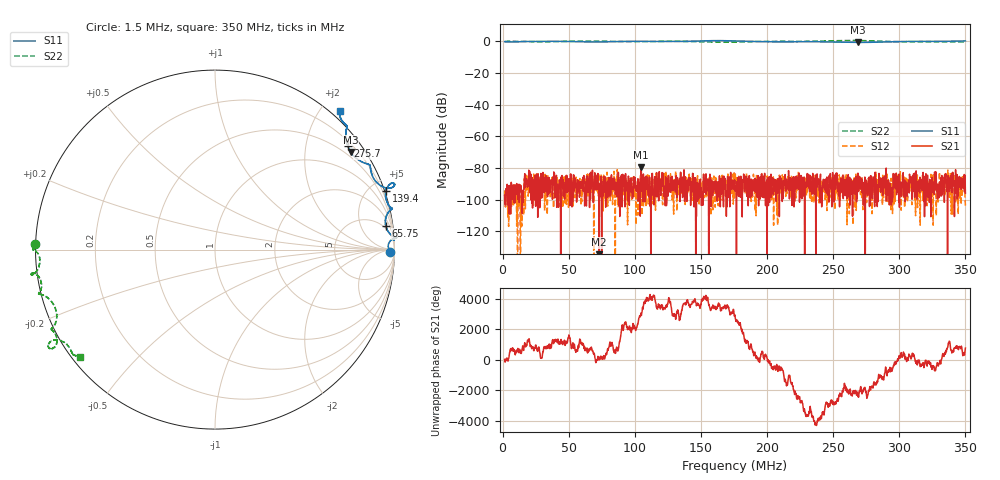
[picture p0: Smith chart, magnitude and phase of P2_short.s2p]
# Hz S RI R 50
! RAW DATA - UNCALIBRATED
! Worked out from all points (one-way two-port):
!   1601 points, 1.5 MHz to 350 MHz, reference 50 ohm
!   highest |S21| = -79.56 dB at 104.7 MHz (marker M1); lowest = -186.3 dB at 72.94 MHz (marker M2)
!   lowest |S11| = -0.6 dB at 269 MHz (marker M3), VSWR 27.97, Z = 18.7 + j153 ohm
!   |S11| at or under -10 dB: nowhere
!   |S22| runs from -0.5 to 0.6 dB; largest |S21 - S12| = 0.00014
!   S11 on the Smith chart (normalised r, x): 1.5 MHz: 65, -40; 65.75 MHz: 4, +13; 139.4 MHz: -0.14, +5.99; 275.7 MHz: 0.30, +2.88; 350 MHz: -0.12, +2.24
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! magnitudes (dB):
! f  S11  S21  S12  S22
! 1.5 MHz  -0.2  -97.1  -94.1  0.0
! 8.47 MHz  -0.3  -101.9  -102.7  0.1
! 24.37 MHz  0.0  -87.7  -94.2  -0.2
! 38.09 MHz  0.1  -87.9  -89.4  -0.1
! 59.66 MHz  -0.3  -92.6  -88.1  0.3
! 65.75 MHz  -0.3  -104.9  -89.6  0.3
! 72.94 MHz  -0.3  -186.3  -89.5  0.2
! 91.89 MHz  0.0  -84.6  -95.5  -0.1
! 104.7 MHz  0.1  -79.6  -101.8  -0.1
! 117.8 MHz  0.0  -96.3  -95.6  0.1
! 139.4 MHz  0.1  -101.1  -96.0  0.0
! 161.2 MHz  0.5  -95.4  -86.0  -0.4
! 175.8 MHz  0.4  -93.3  -88.9  -0.4
! 201.9 MHz  -0.2  -101.7  -90.1  0.1
! 233.9 MHz  -0.2  -96.6  -101.3  0.1
! 258.3 MHz  -0.5  -87.2  -96.0  0.6
! 269 MHz  -0.6  -89.0  -90.7  0.6
! 275.7 MHz  -0.6  -92.3  -94.7  0.5
! 292.1 MHz  -0.2  -93.2  -88.8  0.0
! 305.3 MHz  0.0  -92.7  -94.1  -0.2
! 331.5 MHz  0.1  -86.1  -90.9  -0.2
! 350 MHz  0.3  -96.0  -103.8  -0.4
